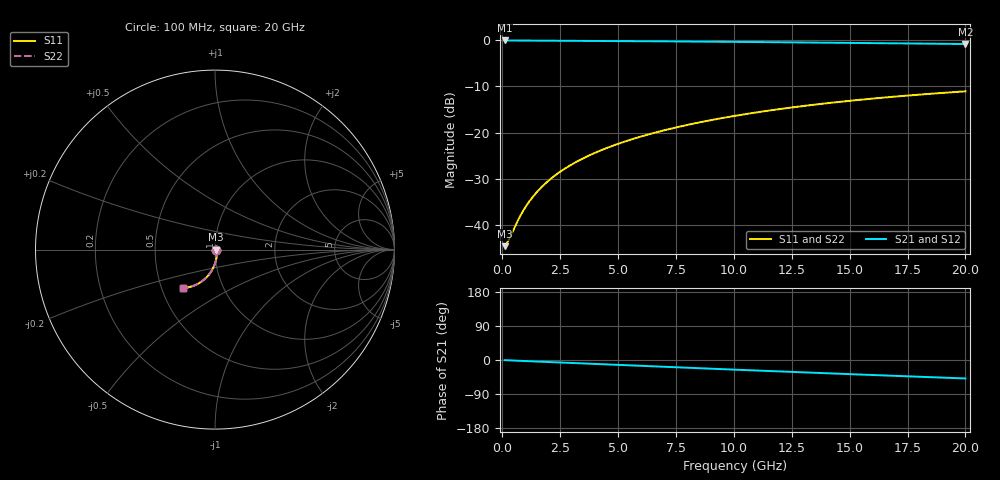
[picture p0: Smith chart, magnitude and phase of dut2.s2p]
! Touchstone file exported from HFSS 2026.1.0
!  File:  C:/ffzhzh/LocalFiles/Ansys_Project_Files/temp_val_TMRDL_2_1782902496_43084.aedt
!  Generated:  06:43:41 PM Jul  1, 2026
!  Design:  TMRDL
!  Project:  temp_val_TMRDL_2_1782902496_43084
! Variables:
!  h_bsmrdl = 2um
!  h_ox = 20um
!  h_rdl = 5um
!  h_sub = 80um
!  h_tmrdl = 3.24um
!  h_tsv = 80um
!  h_via = 3um
!  l_bsmrdl = 300um
!  l_sub = 1195.85um
!  l_tmrdl = 795.85um
!  m_sub = 200um
!  pitch = 16.38um
!  r_tsv = 6um
!  s_tmrdl = 10um
!  w_bsmrdl = 18um
!  w_sub = 500um
!  w_tmrdl = 15.2um
!  x_tsv_center1 = 803.45um
!  x_tsv_center2 = 1121.45um
!  x_tsv_center3 = 1932.5um
!  x_tsv_center4 = 2250.5um
!  x_tsv_center5 = 3061.55um
!  x_tsv_center6 = 3379.55um
# GHz S MA R 50.000000
! Terminal data exported
! Port[1] = TM_RDL1_1_T1
! Port[2] = TM_RDL1_1_T2
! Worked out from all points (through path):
!   200 points, 100 MHz to 20 GHz, reference 50 ohm
!   highest |S21| = -0.05 dB at 100 MHz (marker M1); lowest = -0.8 dB at 20 GHz (marker M2)
!   group delay of S21, straight-line fit = 6.75 ps
!   lowest |S11| = -44.5 dB at 100 MHz (marker M3), VSWR 1.01, Z = 50.6 - j0.0515 ohm
!   |S11| at or under -10 dB: start of sweep to end of sweep
!   |S22| runs from -44.5 to -11.1 dB; largest |S21 - S12| = 4e-15
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0.1  0.005933 -4.9  0.9941 -0.3  0.9941 -0.3  0.005933 -4.9
! Gamma 0 0 0 0
! Port Impedance 50 0 50 0
0.2  0.006399 -10.2  0.9937 -0.6  0.9937 -0.6  0.006399 -10.2
0.3  0.007125 -15.8  0.9931 -0.9  0.9931 -0.9  0.007125 -15.8
0.7  0.0116 -37.3  0.9905 -2.0  0.9905 -2.0  0.0116 -37.3
0.9  0.01429 -45.6  0.9895 -2.5  0.9895 -2.5  0.01429 -45.6
1.2  0.01855 -55.0  0.9884 -3.3  0.9884 -3.3  0.01855 -55.0
1.5  0.02292 -61.8  0.9875 -4.1  0.9875 -4.1  0.02293 -61.8
1.9  0.02885 -68.3  0.9866 -5.1  0.9866 -5.1  0.02885 -68.3
2.4  0.03632 -74.1  0.9856 -6.4  0.9856 -6.4  0.03633 -74.1
2.9  0.04385 -78.4  0.9846 -7.6  0.9846 -7.6  0.04385 -78.3
3.5  0.05293 -82.3  0.9832 -9.2  0.9832 -9.2  0.05293 -82.3
4.2  0.06357 -86.0  0.9815 -10.9  0.9815 -10.9  0.06357 -85.9
5  0.07577 -89.4  0.9792 -13.0  0.9792 -13.0  0.07578 -89.4
5.9  0.08953 -92.8  0.9764 -15.2  0.9764 -15.2  0.08954 -92.7
6.8  0.1033 -95.8  0.9732 -17.5  0.9732 -17.5  0.1033 -95.8
8.4  0.1276 -100.6  0.967 -21.5  0.967 -21.5  0.1276 -100.6
10.1  0.153 -105.4  0.9597 -25.6  0.9597 -25.6  0.153 -105.4
11.7  0.1762 -109.7  0.9523 -29.5  0.9523 -29.5  0.1762 -109.7
13.4  0.1999 -114.1  0.9439 -33.6  0.9439 -33.6  0.1999 -114.1
15  0.2212 -118.1  0.9358 -37.3  0.9358 -37.3  0.2212 -118.1
16.7  0.2426 -122.3  0.9269 -41.3  0.9269 -41.3  0.2426 -122.3
20  0.28 -130.1  0.9095 -48.7  0.9095 -48.7  0.28 -130.1
